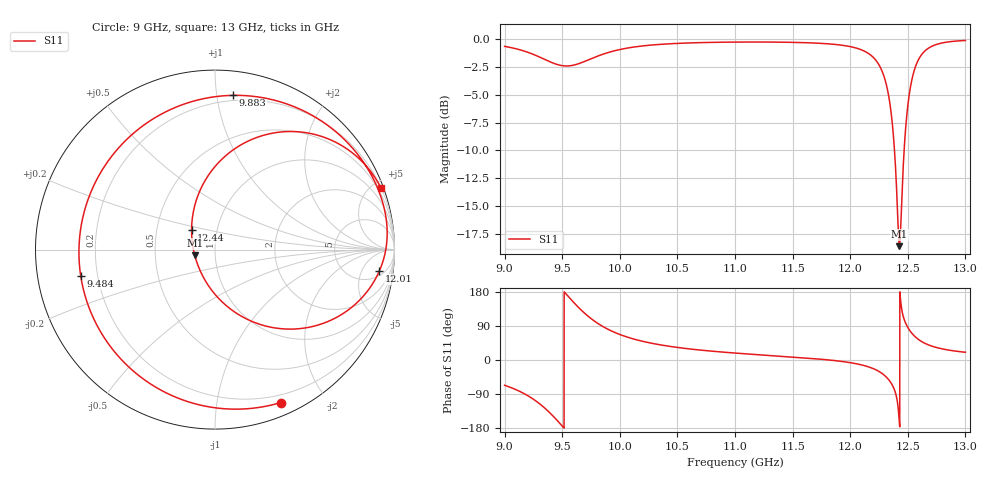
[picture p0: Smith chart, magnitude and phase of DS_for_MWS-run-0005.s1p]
! TOUCHSTONE file generated by CST DESIGN STUDIO
! Date and time: Tue Feb  4 18:16:59 2025
! Project name: C:\Work\MatlabApps\UnitCellOptimizationMatlab\CST\unitcell.cst
! Tree item: Tasks\Sweep1\SPara1\S-Parameters
! Header version: 2024
! Port assignment regex: !\s*Touchstone port\s*([0-9]+)\s*=\s*(CST MWS port|CST DES external port|CST DES block port)\s*(.+)\s* \(\"(.*)\"\)(\s*mode\s*([0-9]+))?.*
! Touchstone port assignment:
! Touchstone port 1 = CST DES external port 1 ("")
# GHz S MA R 50
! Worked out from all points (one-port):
!   4001 points, 9 GHz to 13 GHz, reference 50 ohm
!   lowest |S11| = -18.6 dB at 12.43 GHz (marker M1), VSWR 1.27, Z = 39.8 - j2.59 ohm
!   |S11| at or under -10 dB: 12.38 GHz to 12.47 GHz (83.54 MHz wide, 0.672 % of centre)
!   S11 on the Smith chart (normalised r, x): 9 GHz: 0.12, -1.51; 9.484 GHz: 0.14, -0.10; 9.883 GHz: 0.16, +1.11; 12.01 GHz: 7, -11; 12.44 GHz: 0.75, +0.17; 13 GHz: 0.22, +5.54
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9  0.9276 -66.7
9.159  0.8874 -87.1
9.274  0.8436 -108.7
9.375  0.7988 -134.3
9.484  0.7625 -168.7
9.5  0.7599 -174.2
9.587  0.7616 156.1
9.692  0.7927 124.1
9.78  0.8278 102.6
9.883  0.8652 83.3
10  0.8977 67.3
10.216  0.9341 48.1
10.5  0.9567 33.2
11  0.9697 18.3
11.5  0.967 7.8
12  0.9253 -7.0
12.008  0.9235 -7.4
12.192  0.8357 -21.7
12.307  0.6443 -43.1
12.37  0.3952 -68.9
12.427  0.1173 -164.1
12.444  0.1697 140.3
12.472  0.3407 104.1
12.5  0.5016 86.0
12.566  0.7504 60.8
12.681  0.9118 39.7
12.808  0.9633 28.8
13  0.9862 20.4
